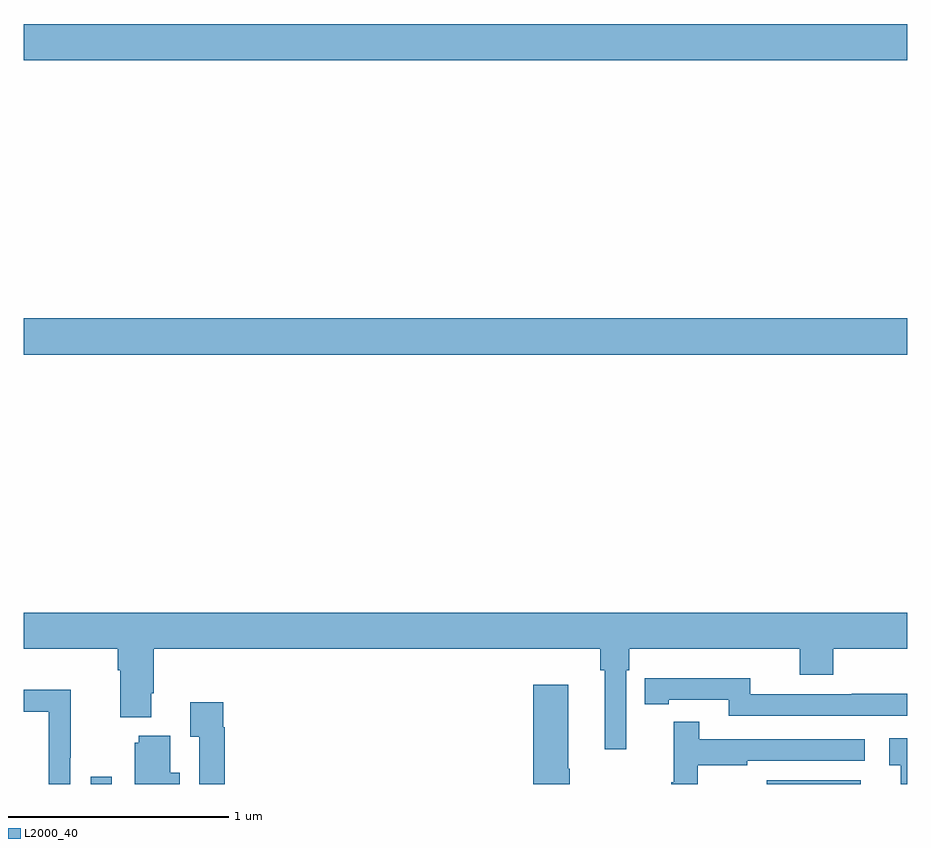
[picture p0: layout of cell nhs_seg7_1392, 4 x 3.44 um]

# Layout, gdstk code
import gdstk
lib = gdstk.Library(unit=1e-6, precision=1e-09)
def R(c, l, rs):  # rectangles x0, y0, x1, y1
    for r in rs: c.add(gdstk.rectangle(r[:2], r[2:], *l))
def P(c, l, *ps):  # polygons
    for p in ps: c.add(gdstk.Polygon(p, *l))
L2000_40 = (2000, 40)

nhs_seg7_1392 = lib.new_cell('nhs_seg7_1392')
R(nhs_seg7_1392, L2000_40, [(207.303,1004,207.399,1004.032), (210.363,1004,210.79,1004.017), (207,1005.944,211,1006.108), (207,1007.276,211,1007.44)])
P(nhs_seg7_1392, L2000_40, [(209.727,1004.516),(209.741,1004.516),(209.741,1004.612),(210.512,1004.612),(210.512,1004.495),(210.665,1004.495),(210.665,1004.612),(211,1004.612),(211,1004.776),(207,1004.776),(207,1004.612),(207.425,1004.612),(207.425,1004.516),(207.437,1004.516),(207.437,1004.303),(207.577,1004.303),(207.577,1004.41),(207.59,1004.41),(207.59,1004.612),(209.611,1004.612),(209.611,1004.516),(209.63,1004.516),(209.63,1004.157),(209.727,1004.157)],
  [(211,1004.408),(210.748,1004.408),(210.748,1004.406),(210.288,1004.406),(210.288,1004.479),(209.92,1004.479),(209.92,1004.478),(209.812,1004.478),(209.812,1004.362),(209.92,1004.362),(209.92,1004.382),(210.192,1004.382),(210.192,1004.31),(211,1004.31)],
  [(209.472,1004.069),(209.464,1004.069),(209.464,1004.449),(209.306,1004.449),(209.306,1004),(209.472,1004)],
  [(207.21,1004.119),(207.213,1004.119),(207.213,1004.426),(207,1004.426),(207,1004.328),(207.114,1004.328),(207.114,1004),(207.21,1004)],
  [(207.911,1004.258),(207.904,1004.258),(207.904,1004.371),(207.755,1004.371),(207.755,1004.215),(207.795,1004.215),(207.795,1004),(207.911,1004)],
  [(210.052,1004.086),(210.275,1004.086),(210.275,1004.106),(210.808,1004.106),(210.808,1004.202),(210.059,1004.202),(210.059,1004.281),(209.942,1004.281),(209.942,1004.009),(209.931,1004.009),(209.931,1004),(210.052,1004)],
  [(207.706,1004.05),(207.664,1004.05),(207.664,1004.218),(207.521,1004.218),(207.521,1004.187),(207.503,1004.187),(207.503,1004),(207.706,1004)],
  [(211,1004.206),(210.918,1004.206),(210.918,1004.085),(210.971,1004.085),(210.971,1004),(211,1004)])

lib.write_gds('nhs_seg7_1392.gds')
